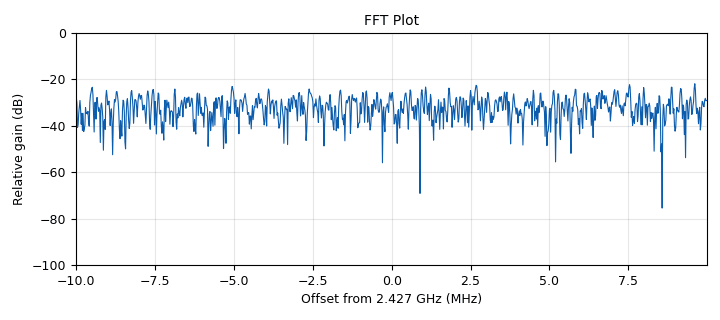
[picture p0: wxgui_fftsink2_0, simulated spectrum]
<?xml version='1.0' encoding='utf-8'?>
<?grc format='1' created='3.7.13'?>
<flow_graph>
<block>
<key>options</key>
<param><key>id</key><value>top_block</value></param>
<param><key>generate_options</key><value>wx_gui</value></param>
</block>
<block>
<key>variable</key>
<param><key>id</key><value>freq</value></param>
<param><key>value</key><value>2.412e9</value></param>
</block>
<block>
<key>variable</key>
<param><key>id</key><value>samp_rate</value></param>
<param><key>value</key><value>20e6</value></param>
</block>
<block>
<key>analog_noise_source_x</key>
<param><key>id</key><value>analog_noise_source_x_0</value></param>
<param><key>amp</key><value>1</value></param>
<param><key>noise_type</key><value>analog.GR_GAUSSIAN</value></param>
<param><key>type</key><value>complex</value></param>
<param><key>seed</key><value>0</value></param>
</block>
<block>
<key>pluto_sink</key>
<param><key>id</key><value>pluto_sink_0</value></param>
<param><key>attenuation</key><value>10</value></param>
<param><key>buffer_size</key><value>0x8000</value></param>
<param><key>cyclic</key><value>True</value></param>
<param><key>auto_filter</key><value>False</value></param>
<param><key>filter</key><value></value></param>
<param><key>uri</key><value>192.168.2.1</value></param>
<param><key>frequency</key><value>int(freq)</value></param>
<param><key>bandwidth</key><value>40000000</value></param>
<param><key>samplerate</key><value>int(samp_rate)</value></param>
</block>
<block>
<key>wxgui_fftsink2</key>
<param><key>id</key><value>wxgui_fftsink2_0</value></param>
<param><key>avg_alpha</key><value>0</value></param>
<param><key>average</key><value>False</value></param>
<param><key>baseband_freq</key><value>2.427e9</value></param>
<param><key>fft_size</key><value>1024</value></param>
<param><key>freqvar</key><value>None</value></param>
<param><key>peak_hold</key><value>False</value></param>
<param><key>ref_level</key><value>0</value></param>
<param><key>ref_scale</key><value>2.0</value></param>
<param><key>fft_rate</key><value>15</value></param>
<param><key>samp_rate</key><value>samp_rate</value></param>
<param><key>title</key><value>FFT Plot</value></param>
<param><key>type</key><value>complex</value></param>
<param><key>win</key><value>None</value></param>
<param><key>y_divs</key><value>10</value></param>
<param><key>y_per_div</key><value>10</value></param>
</block>
<connection><source_block_id>analog_noise_source_x_0</source_block_id><sink_block_id>pluto_sink_0</sink_block_id><source_key>0</source_key><sink_key>0</sink_key></connection>
<connection><source_block_id>analog_noise_source_x_0</source_block_id><sink_block_id>wxgui_fftsink2_0</sink_block_id><source_key>0</source_key><sink_key>0</sink_key></connection>
</flow_graph>
